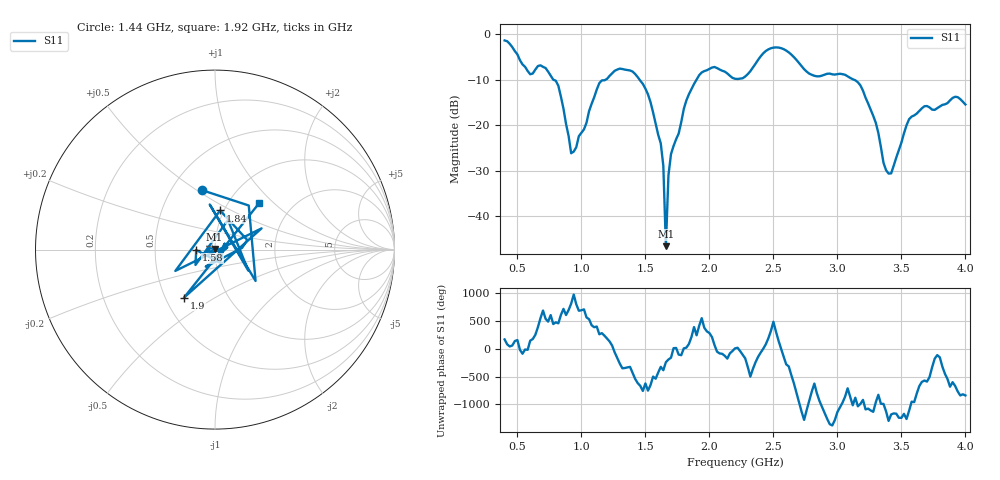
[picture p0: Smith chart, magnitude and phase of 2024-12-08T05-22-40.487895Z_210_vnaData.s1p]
!Created with skrf (http://scikit-rf.org).
# Hz S RI R 50.0
!freq ReS11 ImS11
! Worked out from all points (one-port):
!   181 points, 400 MHz to 4 GHz, reference 50 ohm
!   lowest |S11| = -46.6 dB at 1.66 GHz (marker M1), VSWR 1.01, Z = 49.8 + j0.416 ohm
!   |S11| at or under -10 dB: 783.5 MHz to 1.186 GHz (402.7 MHz wide, 40.9 % of centre); 1.455 GHz to 1.899 GHz (443.4 MHz wide, 26.4 % of centre); 3.132 GHz to end of sweep
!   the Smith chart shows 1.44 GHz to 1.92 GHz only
!   S11 on the Smith chart (normalised r, x): 1.44 GHz: 0.70, +0.53; 1.58 GHz: 0.81, -0.00; 1.84 GHz: 0.96, +0.44; 1.9 GHz: 0.62, -0.37; 1.92 GHz: 1.37, +0.81
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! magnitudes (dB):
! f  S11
! 400 MHz  -1.3
! 600 MHz  -8.8
! 720 MHz  -7.4
! 820 MHz  -11.3
! 860 MHz  -16.4
! 920 MHz  -26.2
! 940 MHz  -25.8
! 1.14 GHz  -10.7
! 1.3 GHz  -7.5
! 1.44 GHz  -9.4
! 1.58 GHz  -19.6
! 1.64 GHz  -28.9
! 1.66 GHz  -46.6
! 1.68 GHz  -31.0
! 1.7 GHz  -26.4
! 1.76 GHz  -21.8
! 1.84 GHz  -13.2
! 1.9 GHz  -9.9
! 1.92 GHz  -9.0
! 2.2 GHz  -9.8
! 2.48 GHz  -3.0
! 2.66 GHz  -5.0
! 2.82 GHz  -9.1
! 3.1 GHz  -9.6
! 3.28 GHz  -17.9
! 3.4 GHz  -30.6
! 3.56 GHz  -18.7
! 4 GHz  -15.4
